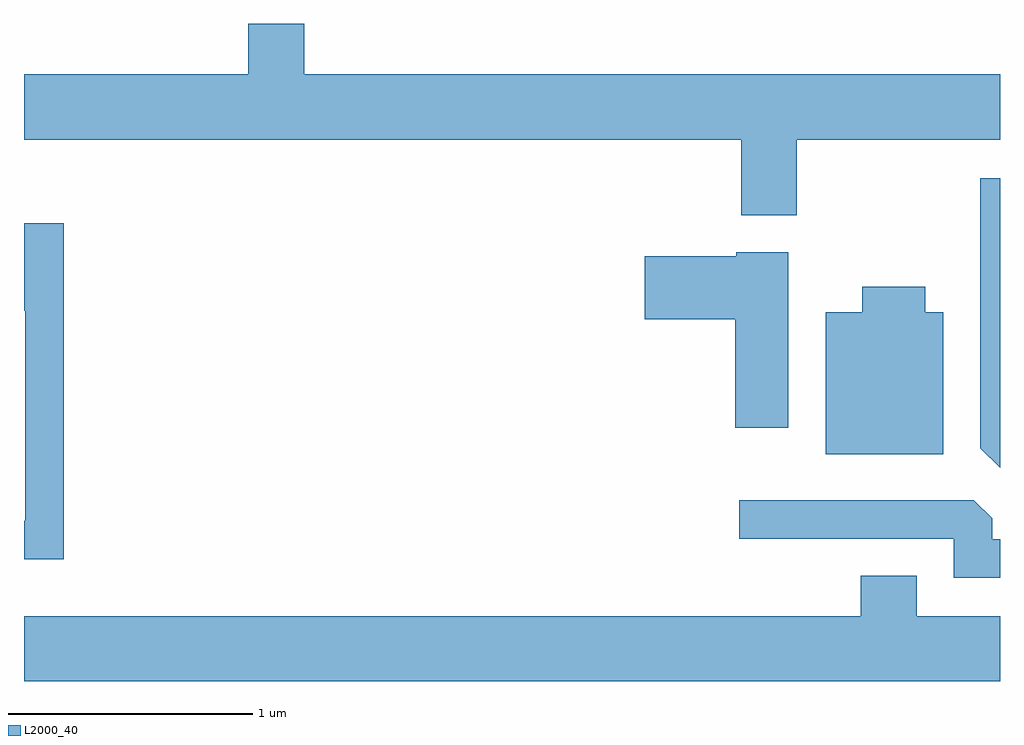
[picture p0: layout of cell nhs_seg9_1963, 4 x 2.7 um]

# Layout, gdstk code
import gdstk
lib = gdstk.Library(unit=1e-6, precision=1e-09)
def P(c, l, *ps):  # polygons
    for p in ps: c.add(gdstk.Polygon(p, *l))
L2000_40 = (2000, 40)

nhs_seg9_1963 = lib.new_cell('nhs_seg9_1963')
P(nhs_seg9_1963, L2000_40, [(244.779,2073.956),(245.611,2073.956),(245.611,2074.224),(242.759,2074.224),(242.759,2074.432),(242.531,2074.432),(242.531,2074.224),(241.611,2074.224),(241.611,2073.956),(244.551,2073.956),(244.551,2073.646),(244.779,2073.646)],
  [(245.611,2073.799),(245.531,2073.799),(245.531,2072.692),(245.611,2072.612)],
  [(241.774,2073.614),(241.611,2073.614),(241.611,2073.256),(241.616,2073.256),(241.616,2072.394),(241.611,2072.394),(241.611,2072.236),(241.774,2072.236)],
  [(244.744,2073.494),(244.53,2073.494),(244.53,2073.479),(244.156,2073.479),(244.156,2073.221),(244.526,2073.221),(244.526,2072.776),(244.744,2072.776)],
  [(245.379,2073.249),(245.304,2073.249),(245.304,2073.354),(245.046,2073.354),(245.046,2073.249),(244.896,2073.249),(244.896,2072.666),(245.379,2072.666)],
  [(245.611,2072.319),(245.579,2072.319),(245.579,2072.404),(245.504,2072.479),(244.543,2072.479),(244.543,2072.321),(245.421,2072.321),(245.421,2072.161),(245.611,2072.161)],
  [(245.611,2072.004),(245.269,2072.004),(245.269,2072.169),(245.041,2072.169),(245.041,2072.004),(241.611,2072.004),(241.611,2071.736),(245.611,2071.736)])

lib.write_gds('nhs_seg9_1963.gds')
